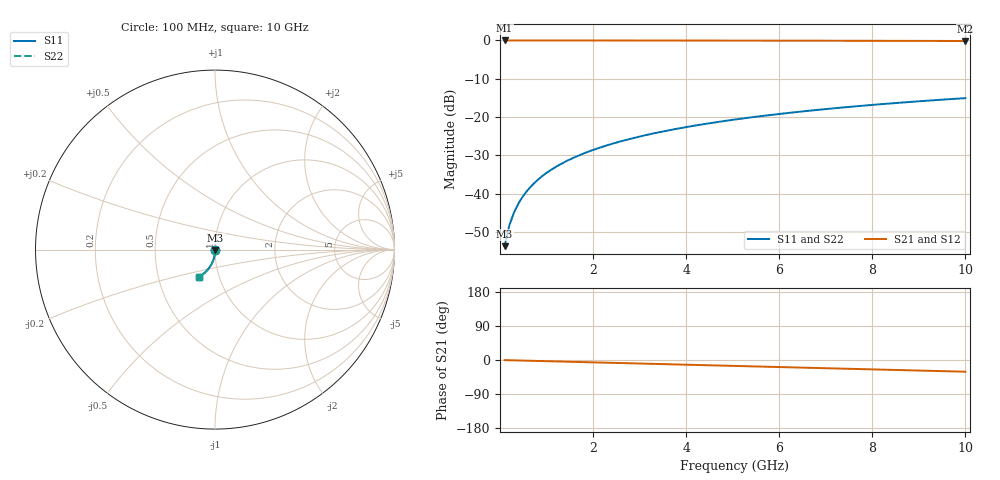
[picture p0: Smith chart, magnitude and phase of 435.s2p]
# Hz S RI R 50.00
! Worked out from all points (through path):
!   100 points, 100 MHz to 10 GHz, reference 50 ohm
!   highest |S21| = -0.01 dB at 100 MHz (marker M1); lowest = -0.1 dB at 10 GHz (marker M2)
!   group delay of S21, straight-line fit = 8.58 ps
!   lowest |S11| = -53.8 dB at 100 MHz (marker M3), VSWR 1.00, Z = 50.1 - j0.186 ohm
!   |S11| at or under -10 dB: start of sweep to end of sweep
!   |S22| runs from -53.8 to -15.1 dB; largest |S21 - S12| = 0
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1e8  0.000866 -0.00186  0.9991 -0.00541  0.9991 -0.00541  0.000866 -0.00186
2e8  0.000839 -0.00372  0.999 -0.0108  0.999 -0.0108  0.000839 -0.00372
3e8  0.000789 -0.00558  0.999 -0.0162  0.999 -0.0162  0.000789 -0.00558
4e8  0.000719 -0.00744  0.9988 -0.0216  0.9988 -0.0216  0.000719 -0.00744
5e8  0.000628 -0.00929  0.9987 -0.027  0.9987 -0.027  0.000628 -0.00929
6e8  0.000517 -0.0111  0.9985 -0.0324  0.9985 -0.0324  0.000517 -0.0111
7e8  0.000386 -0.013  0.9983 -0.0378  0.9983 -0.0378  0.000386 -0.013
8e8  0.000234 -0.0149  0.998 -0.0432  0.998 -0.0432  0.000234 -0.0149
9e8  6.19e-05 -0.0167  0.9977 -0.0486  0.9977 -0.0486  6.19e-05 -0.0167
1.1e9  -0.000342 -0.0204  0.9971 -0.0594  0.9971 -0.0594  -0.000342 -0.0204
1.4e9  -0.0011 -0.0259  0.9958 -0.0756  0.9958 -0.0756  -0.0011 -0.0259
1.8e9  -0.00239 -0.0333  0.9937 -0.0971  0.9937 -0.0971  -0.00239 -0.0333
2.1e9  -0.00356 -0.0387  0.9918 -0.1132  0.9918 -0.1132  -0.00356 -0.0387
2.5e9  -0.0054 -0.0459  0.9888 -0.1346  0.9888 -0.1346  -0.0054 -0.0459
2.9e9  -0.00755 -0.0531  0.9852 -0.156  0.9852 -0.156  -0.00755 -0.0531
3.4e9  -0.0107 -0.0618  0.9801 -0.1825  0.9801 -0.1825  -0.0107 -0.0618
4.2e9  -0.0166 -0.0755  0.9703 -0.2244  0.9703 -0.2244  -0.0166 -0.0755
5.1e9  -0.0247 -0.0901  0.9568 -0.271  0.9568 -0.271  -0.0247 -0.0901
5.9e9  -0.033 -0.1025  0.9429 -0.3115  0.9429 -0.3115  -0.033 -0.1025
6.7e9  -0.0424 -0.114  0.927 -0.3513  0.927 -0.3513  -0.0424 -0.114
8.4e9  -0.0652 -0.1355  0.8875 -0.4326  0.8875 -0.4326  -0.0652 -0.1355
1e10  -0.0898 -0.1515  0.8436 -0.5045  0.8436 -0.5045  -0.0898 -0.1515
